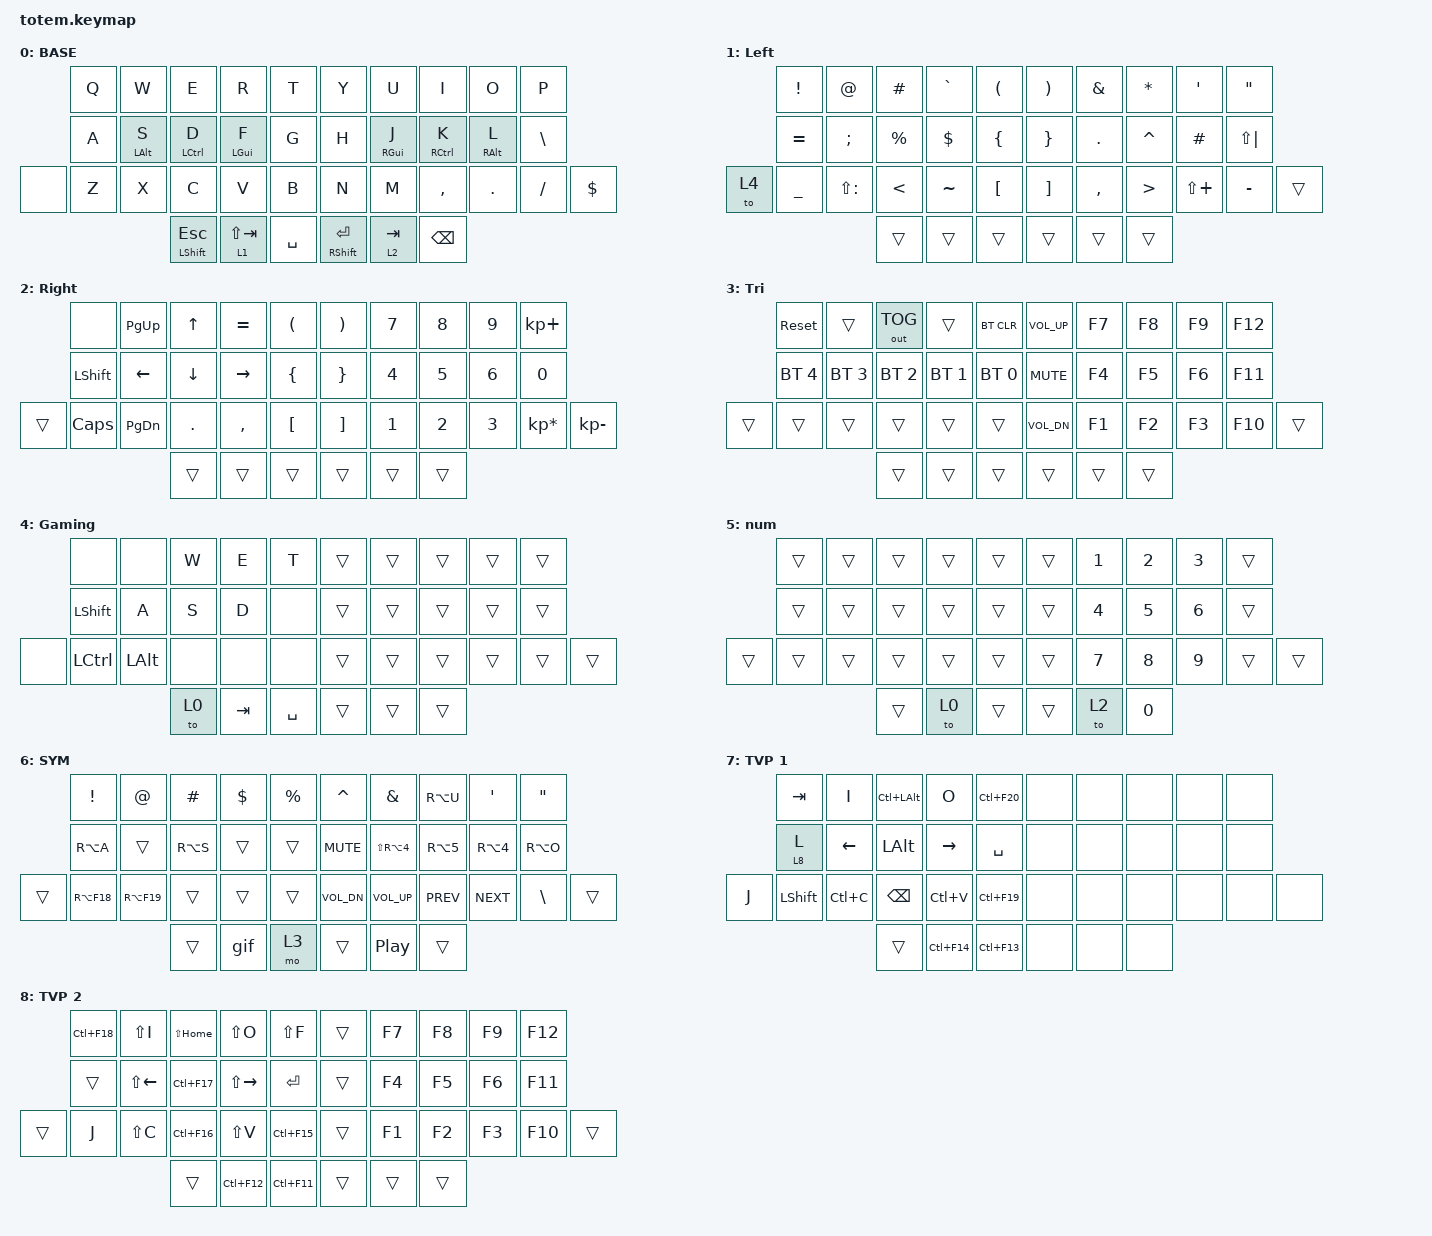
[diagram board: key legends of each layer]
//
//                                                        ▀▀▀▀▀     ▀▀▀▀▀          ▀▀█▀▀
//                                                        ▄▀▀▀▄  ▄  ▄▀▀▀▄  ▄  ▄▀▀▀▄  █  ▄▀▀▀▄
//                                                        █   █  █  █   █  █  █   █  █  █   █
//                                                         ▀▀▀   █   ▀▀▀   █   ▀▀▀   ▀   ▀▀▀
//                                                               █      ▄▄▄█▄▄▄    █   █  
//                                                               ▀      █  █  █     █▄█
//                                                             ▀▀▀▀▀    █  █  █      ▀
//                                                                      ▀  ▀  ▀
//
// ▄▄▄▄▄▄▄▄▄▄▄▄▄▄▄▄▄▄▄▄▄▄▄▄▄▄▄▄▄▄▄▄▄▄▄▄▄▄▄▄▄▄▄▄▄▄▄▄▄▄▄▄▄▄▄▄▄▄▄▄▄▄▄▄▄▄▄▄▄▄▄▄▄▄▄▄▄▄▄▄▄▄▄▄▄▄▄▄▄▄▄▄▄▄▄▄▄▄▄▄▄▄▄▄▄▄▄▄▄▄▄▄▄▄▄▄▄▄▄▄▄▄▄▄▄▄▄▄▄▄▄▄▄▄▄▄▄▄▄▄▄▄▄▄▄▄▄▄▄

#include <behaviors.dtsi>
#include <dt-bindings/zmk/bt.h>
#include <dt-bindings/zmk/keys.h>
#include <dt-bindings/zmk/outputs.h>

#define BASE 0
#define NAV  1
#define SYM  2
#define ADJ  3
#define TVP1 4
#define TVP2 5

&mt {
    quick-tap-ms = <100>;
    global-quick-tap;
    flavor = "tap-preferred";
    tapping-term-ms = <170>;
};

/ {
    combos {
        compatible = "zmk,combos";

        combo_esc {
            timeout-ms = <50>;
            key-positions = <0 1>;
            bindings = <&kp ESC>;
        };

        combo_tvp {
            timeout-ms = <100>;
            key-positions = <11 12 13>;
            bindings = <&tog 8>;
        };
    };

    macros {
        gif: gif {
            label = "giphy";
            compatible = "zmk,behavior-macro";
            #binding-cells = <0>;
            bindings =
                <&macro_press>,
                <&kp LSHFT>,
                <&macro_tap>,
                <&kp N2>,
                <&macro_release>,
                <&kp LSHFT>,
                <&macro_tap>,
                <&kp G &kp I &kp F>;
        };
    };

    keymap {
        compatible = "zmk,keymap";

        // ▄▄▄▄▄▄▄▄▄▄▄▄▄▄▄▄▄▄▄▄▄▄▄▄▄▄▄▄▄▄▄▄▄▄▄▄▄▄▄▄▄▄▄▄▄▄▄▄▄▄▄▄▄▄▄▄▄▄▄▄▄▄▄▄▄▄▄▄▄▄▄▄▄▄▄▄▄▄▄▄▄▄▄▄▄▄▄▄▄▄▄▄▄▄▄▄▄▄▄▄▄▄▄▄▄▄▄▄▄▄▄▄▄▄▄▄▄▄▄▄▄▄▄▄▄▄▄▄▄▄▄▄▄▄▄▄▄▄▄▄▄▄▄▄▄▄▄▄▄

        Base {
            // ┏━━━━━━━━━━━━━━━━━━━━━━━━━━━━━━━━━━━━━━━┓

            label = "BASE";

            // ┗━━━━━━━━━━━━━━━━━━━━━━━━━━━━━━━━━━━━━━━┛
            //             ┏━━━━━━━━━━━┳━━━━━━━━━━━┳━━━━━━━━━━━┳━━━━━━━━━━━┳━━━━━━━━━━━┓   ┏━━━━━━━━━━━┳━━━━━━━━━━━┳━━━━━━━━━━━┳━━━━━━━━━━━┳━━━━━━━━━━━┓
            //             ┃     Q     ┃     W     ┃     F     ┃     P     ┃     G     ┃   ┃     J     ┃     L     ┃     U     ┃     Y     ┃     ;     ┃
            //             ┣━━━━━━━━━━━╋━━━━━━━━━━━╋━━━━━━━━━━━╋━━━━━━━━━━━╋━━━━━━━━━━━┫   ┣━━━━━━━━━━━╋━━━━━━━━━━━╋━━━━━━━━━━━╋━━━━━━━━━━━╋━━━━━━━━━━━┫
            //             ┃     A     ┃     R     ┃     S     ┃     T     ┃     D     ┃   ┃     H     ┃     N     ┃     E     ┃     I     ┃     O     ┃
            // ┏━━━━━━━━━━━╋━━━━━━━━━━━╋━━━━━━━━━━━╋━━━━━━━━━━━╋━━━━━━━━━━━╋━━━━━━━━━━━┫   ┣━━━━━━━━━━━╋━━━━━━━━━━━╋━━━━━━━━━━━╋━━━━━━━━━━━╋━━━━━━━━━━━╋━━━━━━━━━━━┓
            // ┃     Q     ┃     Z     ┃     X     ┃     C     ┃     V     ┃     B     ┃   ┃     K     ┃     M     ┃     ,     ┃     .     ┃     /     ┃     \     ┃
            // ┗━━━━━━━━━━━┻━━━━━━━━━━━┻━━━━━━━━━━━╋━━━━━━━━━━━╋━━━━━━━━━━━╋━━━━━━━━━━━┫   ┣━━━━━━━━━━━╋━━━━━━━━━━━╋━━━━━━━━━━━╋━━━━━━━━━━━┻━━━━━━━━━━━┻━━━━━━━━━━━┛
            //                                     ┃    DEL    ┃    TAB    ┃    SPC    ┃   ┃   ENTER   ┃           ┃   BSPC    ┃
            //                                     ┗━━━━━━━━━━━┻━━━━━━━━━━━┻━━━━━━━━━━━┛   ┗━━━━━━━━━━━┻━━━━━━━━━━━┻━━━━━━━━━━━┛

            bindings = <
       &kp Q  &kp W           &kp E                  &kp R          &kp T        &kp Y                  &kp U       &kp I        &kp O            &kp P
       &kp A  &mt LEFT_ALT S  &mt LCTRL D            &mt LGUI F     &kp G        &kp H                  &mt RGUI J  &mt RCTRL K  &mt RIGHT_ALT L  &kp BACKSLASH
&none  &kp Z  &kp X           &kp C                  &kp V          &kp B        &kp N                  &kp M       &kp COMMA    &kp DOT          &kp FSLH       &kp DOLLAR
                              &mt LEFT_SHIFT ESCAPE  &lt 1 LS(TAB)  &kp SPACE    &mt RIGHT_SHIFT ENTER  &lt 2 TAB   &kp BSPC
            >;
        };

        Left-Symb {
            bindings = <
       &kp EXCLAMATION  &kp AT_SIGN    &kp POUND      &kp GRAVE   &kp LEFT_PARENTHESIS    &kp RIGHT_PARENTHESIS  &kp AMPERSAND  &kp ASTERISK      &kp SINGLE_QUOTE  &kp DOUBLE_QUOTES
       &kp EQUAL        &kp SEMI       &kp PERCENT    &kp DOLLAR  &kp LBRC                &kp RIGHT_BRACE        &kp DOT        &kp CARET         &kp POUND         &kp LS(PIPE)
&to 4  &kp UNDERSCORE   &kp LS(COLON)  &kp LESS_THAN  &kp TILDE   &kp LBKT                &kp RIGHT_BRACKET      &kp COMMA      &kp GREATER_THAN  &kp LS(PLUS)      &kp MINUS          &trans
                                       &trans         &trans      &trans                  &trans                 &trans         &trans
            >;

            label = "Left";
        };

        Right-Nav {
            // ┏━━━━━━━━━━━━━━━━━━━━━━━━━━━━━━━━━━━━━━━┓

            label = "Right";

            // ┗━━━━━━━━━━━━━━━━━━━━━━━━━━━━━━━━━━━━━━━┛
            //             ┏━━━━━━━━━━━┳━━━━━━━━━━━┳━━━━━━━━━━━┳━━━━━━━━━━━┳━━━━━━━━━━━┓   ┏━━━━━━━━━━━┳━━━━━━━━━━━┳━━━━━━━━━━━┳━━━━━━━━━━━┳━━━━━━━━━━━┓
            //             ┃           ┃           ┃     UP    ┃           ┃     {     ┃   ┃     }     ┃     7     ┃     8     ┃     9     ┃     +     ┃
            //             ┣━━━━━━━━━━━╋━━━━━━━━━━━╋━━━━━━━━━━━╋━━━━━━━━━━━╋━━━━━━━━━━━┫   ┣━━━━━━━━━━━╋━━━━━━━━━━━╋━━━━━━━━━━━╋━━━━━━━━━━━╋━━━━━━━━━━━┫
            //             ┃   SHIFT   ┃   LEFT    ┃    DOWN   ┃   RIGHT   ┃     [     ┃   ┃     ]     ┃     4     ┃     5     ┃     6     ┃     -     ┃
            // ┏━━━━━━━━━━━╋━━━━━━━━━━━╋━━━━━━━━━━━╋━━━━━━━━━━━╋━━━━━━━━━━━╋━━━━━━━━━━━┫   ┣━━━━━━━━━━━╋━━━━━━━━━━━╋━━━━━━━━━━━╋━━━━━━━━━━━╋━━━━━━━━━━━╋━━━━━━━━━━━┓
            // ┃           ┃           ┃   P UP    ┃  C LOCK   ┃  P DOWN   ┃     (     ┃   ┃     )     ┃     1     ┃     2     ┃     3     ┃     *     ┃           ┃
            // ┗━━━━━━━━━━━┻━━━━━━━━━━━┻━━━━━━━━━━━╋━━━━━━━━━━━╋━━━━━━━━━━━╋━━━━━━━━━━━┫   ┣━━━━━━━━━━━╋━━━━━━━━━━━╋━━━━━━━━━━━╋━━━━━━━━━━━┻━━━━━━━━━━━┻━━━━━━━━━━━┛
            //                                     ┃           ┃    TAB    ┃    SPC    ┃   ┃    DEL    ┃     0     ┃           ┃
            //                                     ┗━━━━━━━━━━━┻━━━━━━━━━━━┻━━━━━━━━━━━┛   ┗━━━━━━━━━━━┻━━━━━━━━━━━┻━━━━━━━━━━━┛

            bindings = <
        &none         &kp PG_UP      &kp UP      &kp EQUAL  &kp LEFT_PARENTHESIS    &kp RIGHT_PARENTHESIS  &kp N7  &kp N8  &kp N9  &kp KP_PLUS
        &kp LSHFT     &kp LEFT       &kp DOWN    &kp RIGHT  &kp LEFT_BRACE          &kp RIGHT_BRACE        &kp N4  &kp N5  &kp N6  &kp N0
&trans  &kp CAPSLOCK  &kp PAGE_DOWN  &kp PERIOD  &kp COMMA  &kp LEFT_BRACKET        &kp RIGHT_BRACKET      &kp N1  &kp N2  &kp N3  &kp KP_MULTIPLY  &kp KP_MINUS
                                     &trans      &trans     &trans                  &trans                 &trans  &trans
            >;
        };

        Tri-Control {
            // ┏━━━━━━━━━━━━━━━━━━━━━━━━━━━━━━━━━━━━━━━┓

            label = "Tri";

            // ┗━━━━━━━━━━━━━━━━━━━━━━━━━━━━━━━━━━━━━━━┛
            //             ┏━━━━━━━━━━━┳━━━━━━━━━━━┳━━━━━━━━━━━┳━━━━━━━━━━━┳━━━━━━━━━━━┓   ┏━━━━━━━━━━━┳━━━━━━━━━━━┳━━━━━━━━━━━┳━━━━━━━━━━━┳━━━━━━━━━━━┓
            //             ┃   RESET   ┃ BT CLEAR  ┃  OUT TOG  ┃           ┃           ┃   ┃           ┃    F7     ┃    F8     ┃    F9     ┃    F12    ┃
            //             ┣━━━━━━━━━━━╋━━━━━━━━━━━╋━━━━━━━━━━━╋━━━━━━━━━━━╋━━━━━━━━━━━┫   ┣━━━━━━━━━━━╋━━━━━━━━━━━╋━━━━━━━━━━━╋━━━━━━━━━━━╋━━━━━━━━━━━┫
            //             ┃ BOOTLOAD  ┃ BT NEXT   ┃           ┃           ┃           ┃   ┃           ┃    F4     ┃    F5     ┃    F6     ┃    F11    ┃
            // ┏━━━━━━━━━━━╋━━━━━━━━━━━╋━━━━━━━━━━━╋━━━━━━━━━━━╋━━━━━━━━━━━╋━━━━━━━━━━━┫   ┣━━━━━━━━━━━╋━━━━━━━━━━━╋━━━━━━━━━━━╋━━━━━━━━━━━╋━━━━━━━━━━━╋━━━━━━━━━━━┓
            // ┃           ┃           ┃ BT PREV   ┃           ┃           ┃           ┃   ┃           ┃    F1     ┃    F2     ┃    F3     ┃    F10    ┃           ┃
            // ┗━━━━━━━━━━━┻━━━━━━━━━━━┻━━━━━━━━━━━╋━━━━━━━━━━━╋━━━━━━━━━━━╋━━━━━━━━━━━┫   ┣━━━━━━━━━━━╋━━━━━━━━━━━╋━━━━━━━━━━━╋━━━━━━━━━━━┻━━━━━━━━━━━┻━━━━━━━━━━━┛
            //                                     ┃           ┃           ┃           ┃   ┃           ┃           ┃           ┃
            //                                     ┗━━━━━━━━━━━┻━━━━━━━━━━━┻━━━━━━━━━━━┛   ┗━━━━━━━━━━━┻━━━━━━━━━━━┻━━━━━━━━━━━┛

            bindings = <
        &sys_reset    &trans        &out OUT_TOG  &trans        &bt BT_CLR      &kp C_VOLUME_UP  &kp F7  &kp F8  &kp F9  &kp F12
        &bt BT_SEL 4  &bt BT_SEL 3  &bt BT_SEL 2  &bt BT_SEL 1  &bt BT_SEL 0    &kp K_MUTE       &kp F4  &kp F5  &kp F6  &kp F11
&trans  &trans        &trans        &trans        &trans        &trans          &kp C_VOL_DN     &kp F1  &kp F2  &kp F3  &kp F10  &trans
                                    &trans        &trans        &trans          &trans           &trans  &trans
            >;
        };

        Gaming {
            bindings = <
       &none      &none     &kp W  &kp E    &kp T        &trans  &trans  &trans  &trans  &trans
       &kp LSHFT  &kp A     &kp S  &kp D    &none        &trans  &trans  &trans  &trans  &trans
&none  &kp LCTRL  &kp LALT  &none  &none    &none        &trans  &trans  &trans  &trans  &trans  &trans
                            &to 0  &kp TAB  &kp SPACE    &trans  &trans  &trans
            >;
        };

        num {
            bindings = <
        &trans  &trans  &trans  &trans  &trans    &trans  &kp N1  &kp N2  &kp N3  &trans
        &trans  &trans  &trans  &trans  &trans    &trans  &kp N4  &kp N5  &kp N6  &trans
&trans  &trans  &trans  &trans  &trans  &trans    &trans  &kp N7  &kp N8  &kp N9  &trans  &trans
                        &trans  &to 0   &trans    &trans  &to 2   &kp N0
            >;
        };

        sim_layer {
            // ┏━━━━━━━━━━━━━━━━━━━━━━━━━━━━━━━━━━━━━━━┓

            label = "SYM";

            // ┗━━━━━━━━━━━━━━━━━━━━━━━━━━━━━━━━━━━━━━━┛
            //             ┏━━━━━━━━━━━┳━━━━━━━━━━━┳━━━━━━━━━━━┳━━━━━━━━━━━┳━━━━━━━━━━━┓   ┏━━━━━━━━━━━┳━━━━━━━━━━━┳━━━━━━━━━━━┳━━━━━━━━━━━┳━━━━━━━━━━━┓
            //             ┃     !     ┃     @     ┃     #     ┃     $     ┃     %     ┃   ┃     ˆ     ┃     &     ┃     Ü     ┃     '     ┃     "     ┃
            //             ┣━━━━━━━━━━━╋━━━━━━━━━━━╋━━━━━━━━━━━╋━━━━━━━━━━━╋━━━━━━━━━━━┫   ┣━━━━━━━━━━━╋━━━━━━━━━━━╋━━━━━━━━━━━╋━━━━━━━━━━━╋━━━━━━━━━━━┫
            //             ┃     Ä     ┃           ┃    SZ     ┃           ┃           ┃   ┃   MUTE    ┃   YEN     ┃   EURO    ┃  POUND    ┃     Ö     ┃
            // ┏━━━━━━━━━━━╋━━━━━━━━━━━╋━━━━━━━━━━━╋━━━━━━━━━━━╋━━━━━━━━━━━╋━━━━━━━━━━━┫   ┣━━━━━━━━━━━╋━━━━━━━━━━━╋━━━━━━━━━━━╋━━━━━━━━━━━╋━━━━━━━━━━━╋━━━━━━━━━━━┓
            // ┃           ┃  EMAIL1   ┃  EMAIL2   ┃           ┃           ┃           ┃   ┃   VOL-    ┃   VOL+    ┃   LAST    ┃   NEXT    ┃     \     ┃           ┃
            // ┗━━━━━━━━━━━┻━━━━━━━━━━━┻━━━━━━━━━━━╋━━━━━━━━━━━╋━━━━━━━━━━━╋━━━━━━━━━━━┫   ┣━━━━━━━━━━━╋━━━━━━━━━━━╋━━━━━━━━━━━╋━━━━━━━━━━━┻━━━━━━━━━━━┻━━━━━━━━━━━┛
            //                                     ┃           ┃    GIF    ┃    ADJ    ┃   ┃           ┃           ┃           ┃
            //                                     ┗━━━━━━━━━━━┻━━━━━━━━━━━┻━━━━━━━━━━━┛   ┗━━━━━━━━━━━┻━━━━━━━━━━━┻━━━━━━━━━━━┛

            bindings = <
        &kp EXCL     &kp AT       &kp HASH   &kp DLLR  &kp PRCNT    &kp CARET     &kp AMPS        &kp RA(U)   &kp SQT     &kp DQT
        &kp RA(A)    &trans       &kp RA(S)  &trans    &trans       &kp C_MUTE    &kp LS(RA(N4))  &kp RA(N5)  &kp RA(N4)  &kp RA(O)
&trans  &kp RA(F18)  &kp RA(F19)  &trans     &trans    &trans       &kp C_VOL_DN  &kp C_VOL_UP    &kp C_PREV  &kp C_NEXT  &kp BSLH   &trans
                                  &trans     &gif      &mo 3        &trans        &kp C_PP        &trans
            >;
        };

        tvp1_layer {
            // ┏━━━━━━━━━━━━━━━━━━━━━━━━━━━━━━━━━━━━━━━┓

            label = "TVP 1";

            // ┗━━━━━━━━━━━━━━━━━━━━━━━━━━━━━━━━━━━━━━━┛
            //             ┏━━━━━━━━━━━┳━━━━━━━━━━━┳━━━━━━━━━━━┳━━━━━━━━━━━┳━━━━━━━━━━━┓   ┏━━━━━━━━━━━┳━━━━━━━━━━━┳━━━━━━━━━━━┳━━━━━━━━━━━┳━━━━━━━━━━━┓
            //             ┃ NEXT FILE ┃ MARK IN   ┃ ROTATE    ┃ MARK OUT  ┃ SHOW SNAP ┃   ┃           ┃           ┃           ┃           ┃           ┃
            //             ┣━━━━━━━━━━━╋━━━━━━━━━━━╋━━━━━━━━━━━╋━━━━━━━━━━━╋━━━━━━━━━━━┫   ┣━━━━━━━━━━━╋━━━━━━━━━━━╋━━━━━━━━━━━╋━━━━━━━━━━━╋━━━━━━━━━━━┫
            //             ┃ TVP II    ┃ LEFT      ┃ PAN       ┃ RIGHT     ┃ PLAY/FLIP ┃   ┃           ┃           ┃           ┃           ┃           ┃
            // ┏━━━━━━━━━━━╋━━━━━━━━━━━╋━━━━━━━━━━━╋━━━━━━━━━━━╋━━━━━━━━━━━╋━━━━━━━━━━━┫   ┣━━━━━━━━━━━╋━━━━━━━━━━━╋━━━━━━━━━━━╋━━━━━━━━━━━╋━━━━━━━━━━━╋━━━━━━━━━━━┓
            // ┃ FULLSCR   ┃ SHIFT     ┃ COPY      ┃ DELETE    ┃ PASTE     ┃ IMG MARK  ┃   ┃           ┃           ┃           ┃           ┃           ┃           ┃
            // ┗━━━━━━━━━━━┻━━━━━━━━━━━┻━━━━━━━━━━━╋━━━━━━━━━━━╋━━━━━━━━━━━╋━━━━━━━━━━━┫   ┣━━━━━━━━━━━╋━━━━━━━━━━━╋━━━━━━━━━━━╋━━━━━━━━━━━┻━━━━━━━━━━━┻━━━━━━━━━━━┛
            //                                     ┃           ┃ UNDO/SAVE ┃  SEL/MOV  ┃   ┃           ┃           ┃           ┃
            //                                     ┗━━━━━━━━━━━┻━━━━━━━━━━━┻━━━━━━━━━━━┛   ┗━━━━━━━━━━━┻━━━━━━━━━━━┻━━━━━━━━━━━┛

            bindings = <
       &kp TAB    &kp I      &kp LC(LALT)  &kp O        &kp LC(F20)    &none  &none  &none  &none  &none
       &lt 8 L    &kp LEFT   &kp LALT      &kp RIGHT    &kp SPACE      &none  &none  &none  &none  &none
&kp J  &kp LSHFT  &kp LC(C)  &kp BSPC      &kp LC(V)    &kp LC(F19)    &none  &none  &none  &none  &none  &none
                             &trans        &kp LC(F14)  &kp LC(F13)    &none  &none  &none
            >;
        };

        tvp2_layer {
            // ┏━━━━━━━━━━━━━━━━━━━━━━━━━━━━━━━━━━━━━━━┓

            label = "TVP 2";

            // ┗━━━━━━━━━━━━━━━━━━━━━━━━━━━━━━━━━━━━━━━┛
            //             ┏━━━━━━━━━━━┳━━━━━━━━━━━┳━━━━━━━━━━━┳━━━━━━━━━━━┳━━━━━━━━━━━┓   ┏━━━━━━━━━━━┳━━━━━━━━━━━┳━━━━━━━━━━━┳━━━━━━━━━━━┳━━━━━━━━━━━┓
            //             ┃ SOLO      ┃ TOGGLE IN ┃ RESET ROT ┃ TOGGLE OUT┃ TAKE SNAP ┃   ┃           ┃           ┃           ┃           ┃           ┃
            //             ┣━━━━━━━━━━━╋━━━━━━━━━━━╋━━━━━━━━━━━╋━━━━━━━━━━━╋━━━━━━━━━━━┫   ┣━━━━━━━━━━━╋━━━━━━━━━━━╋━━━━━━━━━━━╋━━━━━━━━━━━╋━━━━━━━━━━━┫
            //             ┃ ---       ┃ LAST KEY  ┃ NEW KEY   ┃ NEXT KEY  ┃ ENTER     ┃   ┃           ┃           ┃           ┃           ┃           ┃
            // ┏━━━━━━━━━━━╋━━━━━━━━━━━╋━━━━━━━━━━━╋━━━━━━━━━━━╋━━━━━━━━━━━╋━━━━━━━━━━━┫   ┣━━━━━━━━━━━╋━━━━━━━━━━━╋━━━━━━━━━━━╋━━━━━━━━━━━╋━━━━━━━━━━━╋━━━━━━━━━━━┓
            // ┃           ┃ FULLSCR   ┃ CPY2BRUSH ┃ DEL HEAD  ┃ PSTinPLACE┃ BOOK MARK ┃   ┃           ┃           ┃           ┃           ┃           ┃           ┃
            // ┗━━━━━━━━━━━┻━━━━━━━━━━━┻━━━━━━━━━━━╋━━━━━━━━━━━╋━━━━━━━━━━━╋━━━━━━━━━━━┫   ┣━━━━━━━━━━━╋━━━━━━━━━━━╋━━━━━━━━━━━╋━━━━━━━━━━━┻━━━━━━━━━━━┻━━━━━━━━━━━┛
            //                                     ┃           ┃ REDO/SAV1 ┃TRANS/WARP ┃   ┃           ┃           ┃           ┃
            //                                     ┗━━━━━━━━━━━┻━━━━━━━━━━━┻━━━━━━━━━━━┛   ┗━━━━━━━━━━━┻━━━━━━━━━━━┻━━━━━━━━━━━┛

            bindings = <
        &kp LC(F18)  &kp LS(I)     &kp LS(HOME)  &kp LS(O)      &kp LS(F)      &trans  &kp F7  &kp F8  &kp F9  &kp F12
        &trans       &kp LS(LEFT)  &kp LC(F17)   &kp LS(RIGHT)  &kp RET        &trans  &kp F4  &kp F5  &kp F6  &kp F11
&trans  &kp J        &kp LS(C)     &kp LC(F16)   &kp LS(V)      &kp LC(F15)    &trans  &kp F1  &kp F2  &kp F3  &kp F10  &trans
                                   &trans        &kp LC(F12)    &kp LC(F11)    &trans  &trans  &trans
            >;
        };
    };

    conditional_layers {
        compatible = "zmk,conditional-layers";

        Tri {
            if-layers = <1 2>;
            then-layer = <3>;
        };
    };
};
